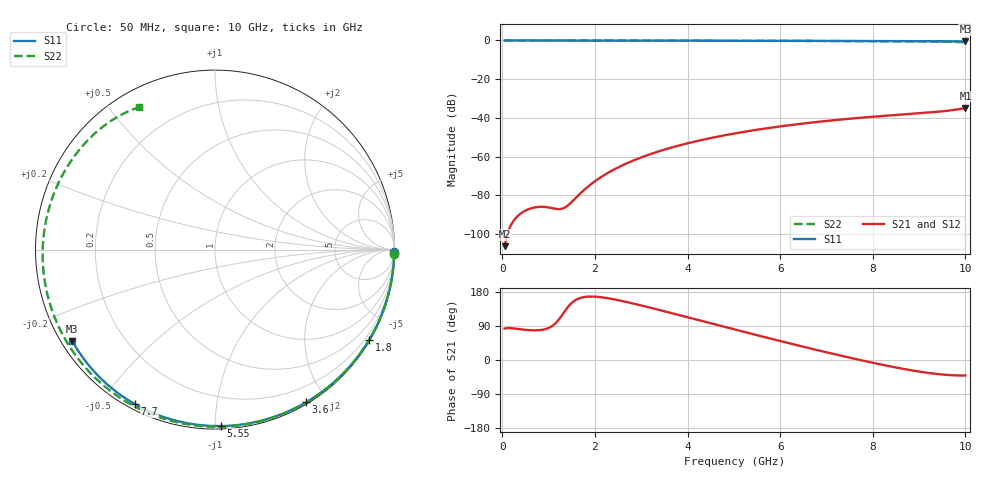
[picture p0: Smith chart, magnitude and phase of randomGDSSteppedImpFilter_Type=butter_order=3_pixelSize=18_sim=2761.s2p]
! freq	dB(S11)	phase(S11)	dB(S12)	phase(S12)
!  dB(S21)	phase(S21)	dB(S22)	phase(S22)
!S-par simulation data
#  GHz  S  DB  R 50
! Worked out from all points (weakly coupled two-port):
!   200 points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, 50 MHz to 10 GHz, reference 50 ohm
!   highest |S21| = -34.80 dB at 10 GHz (marker M1); lowest = -106.2 dB at 50 MHz (marker M2)
!   lowest |S11| = -0.5 dB at 10 GHz (marker M3), VSWR 34.81, Z = 1.56 - j14.6 ohm
!   |S11| at or under -10 dB: nowhere
!   |S22| runs from -0.9 to 0.0 dB; largest |S21 - S12| = 0
!   S11 on the Smith chart (normalised r, x): 50 MHz: open; 1.8 GHz: 0.03, -3.68; 3.6 GHz: 0.02, -1.76; 5.55 GHz: 0.02, -1.03; 7.7 GHz: 0.02, -0.61; 10 GHz: 0.03, -0.29
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0.05  -0.00 -0.9  -106.22 82.8  -106.22 82.8  -0.02 -1.5
0.8  -0.02 -13.6  -85.93 78.7  -85.93 78.7  -0.03 -22.9
1.6  -0.03 -27.1  -80.99 159.4  -80.99 159.4  -0.06 -45.1
1.65  -0.04 -27.9  -79.80 162.2  -79.80 162.2  -0.06 -46.5
1.75  -0.04 -29.5  -77.55 165.8  -77.55 165.8  -0.06 -49.2
1.8  -0.04 -30.4  -76.49 166.7  -76.49 166.7  -0.06 -50.5
2.1  -0.05 -35.3  -71.05 166.1  -71.05 166.1  -0.07 -58.5
2.45  -0.05 -41.0  -66.17 159.2  -66.17 159.2  -0.08 -67.6
2.9  -0.06 -48.2  -61.32 146.9  -61.32 146.9  -0.10 -78.9
3.4  -0.07 -56.1  -57.11 131.8  -57.11 131.8  -0.11 -91.0
3.6  -0.08 -59.2  -55.67 125.5  -55.67 125.5  -0.12 -95.7
4.3  -0.10 -69.9  -51.42 103.3  -51.42 103.3  -0.15 -111.7
5.05  -0.12 -80.9  -47.87 79.5  -47.87 79.5  -0.18 -128.1
5.55  -0.14 -88.1  -45.92 63.9  -45.92 63.9  -0.21 -138.6
6.15  -0.17 -96.5  -43.91 45.5  -43.91 45.5  -0.25 -151.1
6.7  -0.20 -104.1  -42.33 29.1  -42.33 29.1  -0.29 -162.4
7.7  -0.27 -117.4  -39.99 0.7  -39.99 0.7  -0.37 176.7
8.35  -0.32 -126.0  -38.75 -16.2  -38.75 -16.2  -0.44 162.5
8.8  -0.36 -131.8  -37.97 -26.5  -37.97 -26.5  -0.49 152.2
9.25  -0.41 -137.6  -37.15 -34.9  -37.15 -34.9  -0.57 140.9
9.65  -0.46 -142.8  -36.21 -39.8  -36.21 -39.8  -0.69 129.7
10  -0.50 -147.4  -34.80 -40.8  -34.80 -40.8  -0.92 118.0
